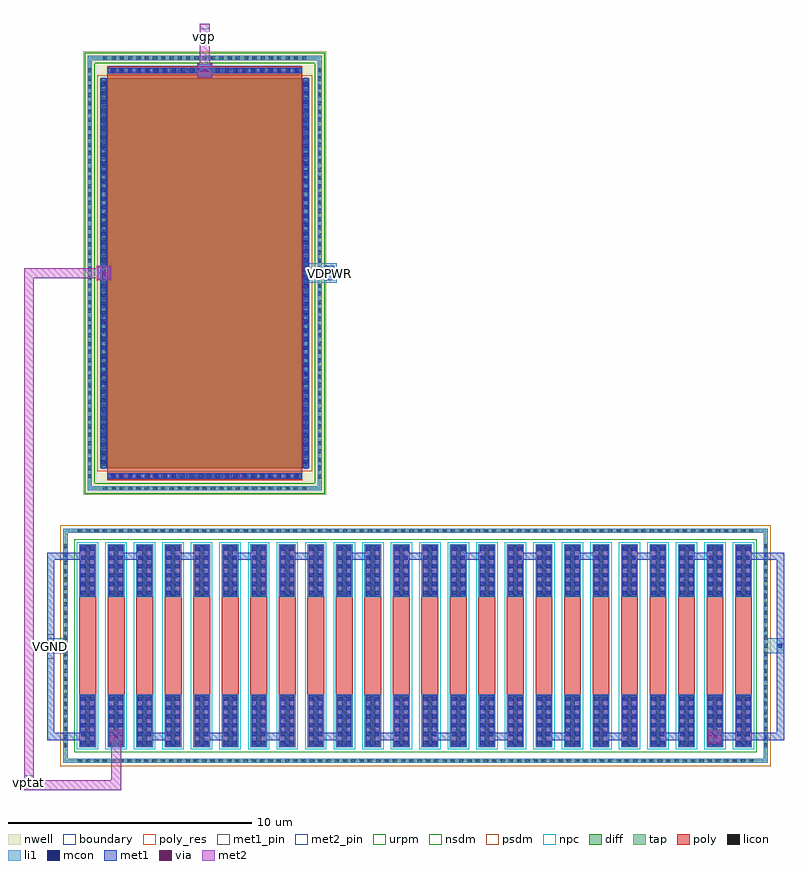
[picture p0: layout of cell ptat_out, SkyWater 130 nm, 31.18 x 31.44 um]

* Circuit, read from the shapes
.subckt ptat_out VDPWR VGND vgp vptat
XM1 VDPWR vgp vptat VDPWR sky130_fd_pr__pfet_01v8 w=16 l=8
XR2 VGND VGND VGND sky130_fd_pr__res_xhigh_po w=0.69 l=4.04 m=2
XR3 sky130_fd_pr__res_xhigh_po_0p69_CEU9SN_1/R1_1 vptat VGND sky130_fd_pr__res_xhigh_po w=0.69 l=4.04
XR4 sky130_fd_pr__res_xhigh_po_0p69_CEU9SN_1/R1_1 sky130_fd_pr__res_xhigh_po_0p69_CEU9SN_1/R2_2 VGND sky130_fd_pr__res_xhigh_po w=0.69 l=4.04
XR5 sky130_fd_pr__res_xhigh_po_0p69_CEU9SN_1/R1_3 sky130_fd_pr__res_xhigh_po_0p69_CEU9SN_1/R2_2 VGND sky130_fd_pr__res_xhigh_po w=0.69 l=4.04
XR6 sky130_fd_pr__res_xhigh_po_0p69_CEU9SN_1/R1_3 sky130_fd_pr__res_xhigh_po_0p69_CEU9SN_1/R2_4 VGND sky130_fd_pr__res_xhigh_po w=0.69 l=4.04
XR7 sky130_fd_pr__res_xhigh_po_0p69_CEU9SN_1/R1_5 sky130_fd_pr__res_xhigh_po_0p69_CEU9SN_1/R2_4 VGND sky130_fd_pr__res_xhigh_po w=0.69 l=4.04
XR8 sky130_fd_pr__res_xhigh_po_0p69_CEU9SN_1/R1_5 sky130_fd_pr__res_xhigh_po_0p69_CEU9SN_1/R2_6 VGND sky130_fd_pr__res_xhigh_po w=0.69 l=4.04
XR9 sky130_fd_pr__res_xhigh_po_0p69_CEU9SN_1/R1_7 sky130_fd_pr__res_xhigh_po_0p69_CEU9SN_1/R2_6 VGND sky130_fd_pr__res_xhigh_po w=0.69 l=4.04
XR10 sky130_fd_pr__res_xhigh_po_0p69_CEU9SN_1/R1_7 sky130_fd_pr__res_xhigh_po_0p69_CEU9SN_1/R2_8 VGND sky130_fd_pr__res_xhigh_po w=0.69 l=4.04
XR11 sky130_fd_pr__res_xhigh_po_0p69_CEU9SN_1/R1_10 sky130_fd_pr__res_xhigh_po_0p69_CEU9SN_1/R2_8 VGND sky130_fd_pr__res_xhigh_po w=0.69 l=4.04
XR12 sky130_fd_pr__res_xhigh_po_0p69_CEU9SN_1/R1_10 sky130_fd_pr__res_xhigh_po_0p69_CEU9SN_1/R2_10 VGND sky130_fd_pr__res_xhigh_po w=0.69 l=4.04
XR13 sky130_fd_pr__res_xhigh_po_0p69_CEU9SN_1/R1_11 sky130_fd_pr__res_xhigh_po_0p69_CEU9SN_1/R2_10 VGND sky130_fd_pr__res_xhigh_po w=0.69 l=4.04
XR14 sky130_fd_pr__res_xhigh_po_0p69_CEU9SN_1/R1_11 sky130_fd_pr__res_xhigh_po_0p69_CEU9SN_1/R2_12 VGND sky130_fd_pr__res_xhigh_po w=0.69 l=4.04
XR15 sky130_fd_pr__res_xhigh_po_0p69_CEU9SN_1/R1_13 sky130_fd_pr__res_xhigh_po_0p69_CEU9SN_1/R2_12 VGND sky130_fd_pr__res_xhigh_po w=0.69 l=4.04
XR16 sky130_fd_pr__res_xhigh_po_0p69_CEU9SN_1/R1_13 sky130_fd_pr__res_xhigh_po_0p69_CEU9SN_1/R2_14 VGND sky130_fd_pr__res_xhigh_po w=0.69 l=4.04
XR17 sky130_fd_pr__res_xhigh_po_0p69_CEU9SN_1/R1_15 sky130_fd_pr__res_xhigh_po_0p69_CEU9SN_1/R2_14 VGND sky130_fd_pr__res_xhigh_po w=0.69 l=4.04
XR18 sky130_fd_pr__res_xhigh_po_0p69_CEU9SN_1/R1_15 sky130_fd_pr__res_xhigh_po_0p69_CEU9SN_1/R2_16 VGND sky130_fd_pr__res_xhigh_po w=0.69 l=4.04
XR19 sky130_fd_pr__res_xhigh_po_0p69_CEU9SN_1/R1_17 sky130_fd_pr__res_xhigh_po_0p69_CEU9SN_1/R2_16 VGND sky130_fd_pr__res_xhigh_po w=0.69 l=4.04
XR20 sky130_fd_pr__res_xhigh_po_0p69_CEU9SN_1/R1_17 sky130_fd_pr__res_xhigh_po_0p69_CEU9SN_1/R2_18 VGND sky130_fd_pr__res_xhigh_po w=0.69 l=4.04
XR21 sky130_fd_pr__res_xhigh_po_0p69_CEU9SN_1/R1_19 sky130_fd_pr__res_xhigh_po_0p69_CEU9SN_1/R2_18 VGND sky130_fd_pr__res_xhigh_po w=0.69 l=4.04
XR22 sky130_fd_pr__res_xhigh_po_0p69_CEU9SN_1/R1_19 sky130_fd_pr__res_xhigh_po_0p69_CEU9SN_1/R2_20 VGND sky130_fd_pr__res_xhigh_po w=0.69 l=4.04
XR23 sky130_fd_pr__res_xhigh_po_0p69_CEU9SN_1/R1_21 sky130_fd_pr__res_xhigh_po_0p69_CEU9SN_1/R2_20 VGND sky130_fd_pr__res_xhigh_po w=0.69 l=4.04
XR24 sky130_fd_pr__res_xhigh_po_0p69_CEU9SN_1/R1_21 VGND VGND sky130_fd_pr__res_xhigh_po w=0.69 l=4.04
.ends

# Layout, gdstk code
import gdstk
lib = gdstk.Library(unit=1e-6, precision=1e-09)
def R(c, l, rs):  # rectangles x0, y0, x1, y1
    for r in rs: c.add(gdstk.rectangle(r[:2], r[2:], *l))
def A(c, l, x, y, w, h, nx, ny, dx, dy):  # array of equal rectangles
    R(c, l, [(x+i*dx, y+j*dy, x+i*dx+w, y+j*dy+h) for i in range(nx) for j in range(ny)])
nwell = (64, 20)
diff = (65, 20)
tap = (65, 44)
poly_res = (66, 13)
poly = (66, 20)
licon = (66, 44)
li1 = (67, 20)
mcon = (67, 44)
met1_pin = (68, 16)
met1 = (68, 20)
via = (68, 44)
met2_pin = (69, 16)
met2 = (69, 20)
urpm = (79, 20)
nsdm = (93, 44)
psdm = (94, 20)
npc = (95, 20)
boundary = (235, 4)

sky130_fd_pr__pfet_01v8_ = lib.new_cell('sky130_fd_pr__pfet_01v8_9GWA29')
R(sky130_fd_pr__pfet_01v8_, nwell, [(-4.98,-9.095,4.98,9.095)])
R(sky130_fd_pr__pfet_01v8_, diff, [(-4.29,-8,4.29,8)])
R(sky130_fd_pr__pfet_01v8_, tap, [(-4.8,-8.915,4.8,-8.745), (-4.8,-8.745,-4.63,8.745), (4.63,-8.745,4.8,8.745), (-4.8,8.745,4.8,8.915)])
R(sky130_fd_pr__pfet_01v8_, poly, [(-4,-8.485,4,8.485)])
A(sky130_fd_pr__pfet_01v8_, licon, -4.165, -8.915, 0.17, 0.17, 25, 2, 0.34, 17.66)
A(sky130_fd_pr__pfet_01v8_, licon, -4.8, -8.415, 0.17, 0.17, 1, 50, 0, 0.34)
A(sky130_fd_pr__pfet_01v8_, licon, 4.63, -8.415, 0.17, 0.17, 1, 50, 0, 0.34)
A(sky130_fd_pr__pfet_01v8_, licon, -3.825, -8.405, 0.17, 0.17, 23, 2, 0.34, 16.64)
A(sky130_fd_pr__pfet_01v8_, licon, -4.23, -7.905, 0.17, 0.17, 1, 47, 0, 0.34)
A(sky130_fd_pr__pfet_01v8_, licon, 4.06, -7.905, 0.17, 0.17, 1, 47, 0, 0.34)
R(sky130_fd_pr__pfet_01v8_, li1, [(-4.8,-8.915,4.8,-8.745), (-4.8,-8.745,-4.63,8.745), (4.63,-8.745,4.8,8.745), (-4,-8.405,4,-8.235), (-4.23,-8.02,-4.06,8.02), (4.06,-8.02,4.23,8.02), (-4,8.235,4,8.405), (-4.8,8.745,4.8,8.915)])
A(sky130_fd_pr__pfet_01v8_, mcon, -3.865, -8.405, 0.17, 0.17, 22, 2, 0.36, 16.64)
A(sky130_fd_pr__pfet_01v8_, mcon, -4.23, -7.825, 0.17, 0.17, 1, 44, 0, 0.36)
A(sky130_fd_pr__pfet_01v8_, mcon, 4.06, -7.825, 0.17, 0.17, 1, 44, 0, 0.36)
R(sky130_fd_pr__pfet_01v8_, met1, [(-3.98,-8.435,3.98,-8.205), (-4.26,-8,-4.03,8), (4.03,-8,4.26,8), (-3.98,8.205,3.98,8.435)])
R(sky130_fd_pr__pfet_01v8_, nsdm, [(-4.925,-9.04,4.925,-8.62), (-4.925,-8.62,-4.505,8.62), (4.505,-8.62,4.925,8.62), (-4.925,8.62,4.925,9.04)])
R(sky130_fd_pr__pfet_01v8_, psdm, [(-4.415,-8.125,4.415,8.125)])
R(sky130_fd_pr__pfet_01v8_, npc, [(-3.925,-8.505,3.925,-8.135), (-3.925,8.135,3.925,8.505)])
R(sky130_fd_pr__pfet_01v8_, boundary, [(-4.715,-8.83,4.715,8.83)])
sky130_fd_pr__pfet_01v8_.add(gdstk.Label('B', (0,-8.83), layer=67, texttype=5))
sky130_fd_pr__pfet_01v8_.add(gdstk.Label('D', (-4.145,0), layer=67, texttype=5))
sky130_fd_pr__pfet_01v8_.add(gdstk.Label('S', (4.145,0), layer=67, texttype=5))
sky130_fd_pr__pfet_01v8_.add(gdstk.Label('G', (0,8.32), layer=67, texttype=5))

sky130_fd_pr__res_xhigh_ = lib.new_cell('sky130_fd_pr__res_xhigh_po_0p69_CEU9SN')
R(sky130_fd_pr__res_xhigh_, tap, [(-14.45,-4.81,14.45,-4.64), (-14.45,-4.64,-14.28,4.64), (14.28,-4.64,14.45,4.64), (-14.45,4.64,14.45,4.81)])
A(sky130_fd_pr__res_xhigh_, poly_res, -13.8, -2.08, 0.69, 4.16, 24, 1, 1.17, 0)
A(sky130_fd_pr__res_xhigh_, poly, -13.8, -4.16, 0.69, 8.32, 24, 1, 1.17, 0)
A(sky130_fd_pr__res_xhigh_, licon, -13.855, -4.81, 0.17, 0.17, 82, 2, 0.34, 9.45)
A(sky130_fd_pr__res_xhigh_, licon, -14.45, -4.165, 0.17, 0.17, 1, 25, 0, 0.34)
A(sky130_fd_pr__res_xhigh_, licon, 14.28, -4.165, 0.17, 0.17, 1, 25, 0, 0.34)
A(sky130_fd_pr__res_xhigh_, licon, -13.55, -4.08, 0.19, 2, 24, 2, 1.17, 6.16)
A(sky130_fd_pr__res_xhigh_, li1, -13.8, -4.16, 0.69, 2.16, 24, 2, 1.17, 6.16)
R(sky130_fd_pr__res_xhigh_, li1, [(-14.45,-4.81,14.45,-4.64), (-14.45,-4.64,-14.28,4.64), (14.28,-4.64,14.45,4.64), (-14.45,4.64,14.45,4.81)])
A(sky130_fd_pr__res_xhigh_, mcon, -13.72, -4.065, 0.17, 0.17, 1, 6, 0, 0.36)
A(sky130_fd_pr__res_xhigh_, mcon, -13.36, -4.065, 0.17, 0.17, 1, 6, 0, 0.36)
A(sky130_fd_pr__res_xhigh_, mcon, -12.55, -4.065, 0.17, 0.17, 1, 6, 0, 0.36)
A(sky130_fd_pr__res_xhigh_, mcon, -12.19, -4.065, 0.17, 0.17, 1, 6, 0, 0.36)
A(sky130_fd_pr__res_xhigh_, mcon, -11.38, -4.065, 0.17, 0.17, 1, 6, 0, 0.36)
A(sky130_fd_pr__res_xhigh_, mcon, -11.02, -4.065, 0.17, 0.17, 1, 6, 0, 0.36)
A(sky130_fd_pr__res_xhigh_, mcon, -10.21, -4.065, 0.17, 0.17, 1, 6, 0, 0.36)
A(sky130_fd_pr__res_xhigh_, mcon, -9.85, -4.065, 0.17, 0.17, 1, 6, 0, 0.36)
A(sky130_fd_pr__res_xhigh_, mcon, -9.04, -4.065, 0.17, 0.17, 1, 6, 0, 0.36)
A(sky130_fd_pr__res_xhigh_, mcon, -8.68, -4.065, 0.17, 0.17, 1, 6, 0, 0.36)
A(sky130_fd_pr__res_xhigh_, mcon, -7.87, -4.065, 0.17, 0.17, 1, 6, 0, 0.36)
A(sky130_fd_pr__res_xhigh_, mcon, -7.51, -4.065, 0.17, 0.17, 1, 6, 0, 0.36)
A(sky130_fd_pr__res_xhigh_, mcon, -6.7, -4.065, 0.17, 0.17, 1, 6, 0, 0.36)
A(sky130_fd_pr__res_xhigh_, mcon, -6.34, -4.065, 0.17, 0.17, 1, 6, 0, 0.36)
A(sky130_fd_pr__res_xhigh_, mcon, -5.53, -4.065, 0.17, 0.17, 1, 6, 0, 0.36)
A(sky130_fd_pr__res_xhigh_, mcon, -5.17, -4.065, 0.17, 0.17, 1, 6, 0, 0.36)
A(sky130_fd_pr__res_xhigh_, mcon, -4.36, -4.065, 0.17, 0.17, 1, 6, 0, 0.36)
A(sky130_fd_pr__res_xhigh_, mcon, -4, -4.065, 0.17, 0.17, 1, 6, 0, 0.36)
A(sky130_fd_pr__res_xhigh_, mcon, -3.19, -4.065, 0.17, 0.17, 1, 6, 0, 0.36)
A(sky130_fd_pr__res_xhigh_, mcon, -2.83, -4.065, 0.17, 0.17, 1, 6, 0, 0.36)
A(sky130_fd_pr__res_xhigh_, mcon, -2.02, -4.065, 0.17, 0.17, 1, 6, 0, 0.36)
A(sky130_fd_pr__res_xhigh_, mcon, -1.66, -4.065, 0.17, 0.17, 1, 6, 0, 0.36)
A(sky130_fd_pr__res_xhigh_, mcon, -0.85, -4.065, 0.17, 0.17, 1, 6, 0, 0.36)
A(sky130_fd_pr__res_xhigh_, mcon, -0.49, -4.065, 0.17, 0.17, 1, 6, 0, 0.36)
A(sky130_fd_pr__res_xhigh_, mcon, 0.32, -4.065, 0.17, 0.17, 1, 6, 0, 0.36)
A(sky130_fd_pr__res_xhigh_, mcon, 0.68, -4.065, 0.17, 0.17, 1, 6, 0, 0.36)
A(sky130_fd_pr__res_xhigh_, mcon, 1.49, -4.065, 0.17, 0.17, 1, 6, 0, 0.36)
A(sky130_fd_pr__res_xhigh_, mcon, 1.85, -4.065, 0.17, 0.17, 1, 6, 0, 0.36)
A(sky130_fd_pr__res_xhigh_, mcon, 2.66, -4.065, 0.17, 0.17, 1, 6, 0, 0.36)
A(sky130_fd_pr__res_xhigh_, mcon, 3.02, -4.065, 0.17, 0.17, 1, 6, 0, 0.36)
A(sky130_fd_pr__res_xhigh_, mcon, 3.83, -4.065, 0.17, 0.17, 1, 6, 0, 0.36)
A(sky130_fd_pr__res_xhigh_, mcon, 4.19, -4.065, 0.17, 0.17, 1, 6, 0, 0.36)
A(sky130_fd_pr__res_xhigh_, mcon, 5, -4.065, 0.17, 0.17, 1, 6, 0, 0.36)
A(sky130_fd_pr__res_xhigh_, mcon, 5.36, -4.065, 0.17, 0.17, 1, 6, 0, 0.36)
A(sky130_fd_pr__res_xhigh_, mcon, 6.17, -4.065, 0.17, 0.17, 1, 6, 0, 0.36)
A(sky130_fd_pr__res_xhigh_, mcon, 6.53, -4.065, 0.17, 0.17, 1, 6, 0, 0.36)
A(sky130_fd_pr__res_xhigh_, mcon, 7.34, -4.065, 0.17, 0.17, 1, 6, 0, 0.36)
A(sky130_fd_pr__res_xhigh_, mcon, 7.7, -4.065, 0.17, 0.17, 1, 6, 0, 0.36)
A(sky130_fd_pr__res_xhigh_, mcon, 8.51, -4.065, 0.17, 0.17, 1, 6, 0, 0.36)
A(sky130_fd_pr__res_xhigh_, mcon, 8.87, -4.065, 0.17, 0.17, 1, 6, 0, 0.36)
A(sky130_fd_pr__res_xhigh_, mcon, 9.68, -4.065, 0.17, 0.17, 1, 6, 0, 0.36)
A(sky130_fd_pr__res_xhigh_, mcon, 10.04, -4.065, 0.17, 0.17, 1, 6, 0, 0.36)
A(sky130_fd_pr__res_xhigh_, mcon, 10.85, -4.065, 0.17, 0.17, 1, 6, 0, 0.36)
A(sky130_fd_pr__res_xhigh_, mcon, 11.21, -4.065, 0.17, 0.17, 1, 6, 0, 0.36)
A(sky130_fd_pr__res_xhigh_, mcon, 12.02, -4.065, 0.17, 0.17, 1, 6, 0, 0.36)
A(sky130_fd_pr__res_xhigh_, mcon, 12.38, -4.065, 0.17, 0.17, 1, 6, 0, 0.36)
A(sky130_fd_pr__res_xhigh_, mcon, 13.19, -4.065, 0.17, 0.17, 1, 6, 0, 0.36)
A(sky130_fd_pr__res_xhigh_, mcon, 13.55, -4.065, 0.17, 0.17, 1, 6, 0, 0.36)
A(sky130_fd_pr__res_xhigh_, mcon, -13.72, 2.09, 0.17, 0.17, 1, 6, 0, 0.36)
A(sky130_fd_pr__res_xhigh_, mcon, -13.36, 2.09, 0.17, 0.17, 1, 6, 0, 0.36)
A(sky130_fd_pr__res_xhigh_, mcon, -12.55, 2.09, 0.17, 0.17, 1, 6, 0, 0.36)
A(sky130_fd_pr__res_xhigh_, mcon, -12.19, 2.09, 0.17, 0.17, 1, 6, 0, 0.36)
A(sky130_fd_pr__res_xhigh_, mcon, -11.38, 2.09, 0.17, 0.17, 1, 6, 0, 0.36)
A(sky130_fd_pr__res_xhigh_, mcon, -11.02, 2.09, 0.17, 0.17, 1, 6, 0, 0.36)
A(sky130_fd_pr__res_xhigh_, mcon, -10.21, 2.09, 0.17, 0.17, 1, 6, 0, 0.36)
A(sky130_fd_pr__res_xhigh_, mcon, -9.85, 2.09, 0.17, 0.17, 1, 6, 0, 0.36)
A(sky130_fd_pr__res_xhigh_, mcon, -9.04, 2.09, 0.17, 0.17, 1, 6, 0, 0.36)
A(sky130_fd_pr__res_xhigh_, mcon, -8.68, 2.09, 0.17, 0.17, 1, 6, 0, 0.36)
A(sky130_fd_pr__res_xhigh_, mcon, -7.87, 2.09, 0.17, 0.17, 1, 6, 0, 0.36)
A(sky130_fd_pr__res_xhigh_, mcon, -7.51, 2.09, 0.17, 0.17, 1, 6, 0, 0.36)
A(sky130_fd_pr__res_xhigh_, mcon, -6.7, 2.09, 0.17, 0.17, 1, 6, 0, 0.36)
A(sky130_fd_pr__res_xhigh_, mcon, -6.34, 2.09, 0.17, 0.17, 1, 6, 0, 0.36)
A(sky130_fd_pr__res_xhigh_, mcon, -5.53, 2.09, 0.17, 0.17, 1, 6, 0, 0.36)
A(sky130_fd_pr__res_xhigh_, mcon, -5.17, 2.09, 0.17, 0.17, 1, 6, 0, 0.36)
A(sky130_fd_pr__res_xhigh_, mcon, -4.36, 2.09, 0.17, 0.17, 1, 6, 0, 0.36)
A(sky130_fd_pr__res_xhigh_, mcon, -4, 2.09, 0.17, 0.17, 1, 6, 0, 0.36)
A(sky130_fd_pr__res_xhigh_, mcon, -3.19, 2.09, 0.17, 0.17, 1, 6, 0, 0.36)
A(sky130_fd_pr__res_xhigh_, mcon, -2.83, 2.09, 0.17, 0.17, 1, 6, 0, 0.36)
A(sky130_fd_pr__res_xhigh_, mcon, -2.02, 2.09, 0.17, 0.17, 1, 6, 0, 0.36)
A(sky130_fd_pr__res_xhigh_, mcon, -1.66, 2.09, 0.17, 0.17, 1, 6, 0, 0.36)
A(sky130_fd_pr__res_xhigh_, mcon, -0.85, 2.09, 0.17, 0.17, 1, 6, 0, 0.36)
A(sky130_fd_pr__res_xhigh_, mcon, -0.49, 2.09, 0.17, 0.17, 1, 6, 0, 0.36)
A(sky130_fd_pr__res_xhigh_, mcon, 0.32, 2.09, 0.17, 0.17, 1, 6, 0, 0.36)
A(sky130_fd_pr__res_xhigh_, mcon, 0.68, 2.09, 0.17, 0.17, 1, 6, 0, 0.36)
A(sky130_fd_pr__res_xhigh_, mcon, 1.49, 2.09, 0.17, 0.17, 1, 6, 0, 0.36)
A(sky130_fd_pr__res_xhigh_, mcon, 1.85, 2.09, 0.17, 0.17, 1, 6, 0, 0.36)
A(sky130_fd_pr__res_xhigh_, mcon, 2.66, 2.09, 0.17, 0.17, 1, 6, 0, 0.36)
A(sky130_fd_pr__res_xhigh_, mcon, 3.02, 2.09, 0.17, 0.17, 1, 6, 0, 0.36)
A(sky130_fd_pr__res_xhigh_, mcon, 3.83, 2.09, 0.17, 0.17, 1, 6, 0, 0.36)
A(sky130_fd_pr__res_xhigh_, mcon, 4.19, 2.09, 0.17, 0.17, 1, 6, 0, 0.36)
A(sky130_fd_pr__res_xhigh_, mcon, 5, 2.09, 0.17, 0.17, 1, 6, 0, 0.36)
A(sky130_fd_pr__res_xhigh_, mcon, 5.36, 2.09, 0.17, 0.17, 1, 6, 0, 0.36)
A(sky130_fd_pr__res_xhigh_, mcon, 6.17, 2.09, 0.17, 0.17, 1, 6, 0, 0.36)
A(sky130_fd_pr__res_xhigh_, mcon, 6.53, 2.09, 0.17, 0.17, 1, 6, 0, 0.36)
A(sky130_fd_pr__res_xhigh_, mcon, 7.34, 2.09, 0.17, 0.17, 1, 6, 0, 0.36)
A(sky130_fd_pr__res_xhigh_, mcon, 7.7, 2.09, 0.17, 0.17, 1, 6, 0, 0.36)
A(sky130_fd_pr__res_xhigh_, mcon, 8.51, 2.09, 0.17, 0.17, 1, 6, 0, 0.36)
A(sky130_fd_pr__res_xhigh_, mcon, 8.87, 2.09, 0.17, 0.17, 1, 6, 0, 0.36)
A(sky130_fd_pr__res_xhigh_, mcon, 9.68, 2.09, 0.17, 0.17, 1, 6, 0, 0.36)
A(sky130_fd_pr__res_xhigh_, mcon, 10.04, 2.09, 0.17, 0.17, 1, 6, 0, 0.36)
A(sky130_fd_pr__res_xhigh_, mcon, 10.85, 2.09, 0.17, 0.17, 1, 6, 0, 0.36)
A(sky130_fd_pr__res_xhigh_, mcon, 11.21, 2.09, 0.17, 0.17, 1, 6, 0, 0.36)
A(sky130_fd_pr__res_xhigh_, mcon, 12.02, 2.09, 0.17, 0.17, 1, 6, 0, 0.36)
A(sky130_fd_pr__res_xhigh_, mcon, 12.38, 2.09, 0.17, 0.17, 1, 6, 0, 0.36)
A(sky130_fd_pr__res_xhigh_, mcon, 13.19, 2.09, 0.17, 0.17, 1, 6, 0, 0.36)
A(sky130_fd_pr__res_xhigh_, mcon, 13.55, 2.09, 0.17, 0.17, 1, 6, 0, 0.36)
A(sky130_fd_pr__res_xhigh_, met1, -13.75, -4.13, 0.59, 2.105, 24, 2, 1.17, 6.155)
R(sky130_fd_pr__res_xhigh_, urpm, [(-14,-4.36,14,4.36)])
R(sky130_fd_pr__res_xhigh_, psdm, [(-14.575,-4.935,14.575,4.935)])
A(sky130_fd_pr__res_xhigh_, npc, -13.895, -4.255, 0.88, 8.51, 24, 1, 1.17, 0)
R(sky130_fd_pr__res_xhigh_, boundary, [(-14.365,-4.725,14.365,4.725)])
sky130_fd_pr__res_xhigh_.add(gdstk.Label('B', (0,-4.725), layer=67, texttype=5))
sky130_fd_pr__res_xhigh_.add(gdstk.Label('R1_0', (-13.455,3.985), layer=67, texttype=5))
sky130_fd_pr__res_xhigh_.add(gdstk.Label('R2_0', (-13.455,-3.985), layer=67, texttype=5))
sky130_fd_pr__res_xhigh_.add(gdstk.Label('R1_1', (-12.285,3.985), layer=67, texttype=5))
sky130_fd_pr__res_xhigh_.add(gdstk.Label('R2_1', (-12.285,-3.985), layer=67, texttype=5))
sky130_fd_pr__res_xhigh_.add(gdstk.Label('R1_2', (-11.115,3.985), layer=67, texttype=5))
sky130_fd_pr__res_xhigh_.add(gdstk.Label('R2_2', (-11.115,-3.985), layer=67, texttype=5))
sky130_fd_pr__res_xhigh_.add(gdstk.Label('R1_3', (-9.945,3.985), layer=67, texttype=5))
sky130_fd_pr__res_xhigh_.add(gdstk.Label('R2_3', (-9.945,-3.985), layer=67, texttype=5))
sky130_fd_pr__res_xhigh_.add(gdstk.Label('R1_4', (-8.775,3.985), layer=67, texttype=5))
sky130_fd_pr__res_xhigh_.add(gdstk.Label('R2_4', (-8.775,-3.985), layer=67, texttype=5))
sky130_fd_pr__res_xhigh_.add(gdstk.Label('R1_5', (-7.605,3.985), layer=67, texttype=5))
sky130_fd_pr__res_xhigh_.add(gdstk.Label('R2_5', (-7.605,-3.985), layer=67, texttype=5))
sky130_fd_pr__res_xhigh_.add(gdstk.Label('R1_6', (-6.435,3.985), layer=67, texttype=5))
sky130_fd_pr__res_xhigh_.add(gdstk.Label('R2_6', (-6.435,-3.985), layer=67, texttype=5))
sky130_fd_pr__res_xhigh_.add(gdstk.Label('R1_7', (-5.265,3.985), layer=67, texttype=5))
sky130_fd_pr__res_xhigh_.add(gdstk.Label('R2_7', (-5.265,-3.985), layer=67, texttype=5))
sky130_fd_pr__res_xhigh_.add(gdstk.Label('R1_8', (-4.095,3.985), layer=67, texttype=5))
sky130_fd_pr__res_xhigh_.add(gdstk.Label('R2_8', (-4.095,-3.985), layer=67, texttype=5))
sky130_fd_pr__res_xhigh_.add(gdstk.Label('R1_9', (-2.925,3.985), layer=67, texttype=5))
sky130_fd_pr__res_xhigh_.add(gdstk.Label('R2_9', (-2.925,-3.985), layer=67, texttype=5))
sky130_fd_pr__res_xhigh_.add(gdstk.Label('R1_10', (-1.755,3.985), layer=67, texttype=5))
sky130_fd_pr__res_xhigh_.add(gdstk.Label('R2_10', (-1.755,-3.985), layer=67, texttype=5))
sky130_fd_pr__res_xhigh_.add(gdstk.Label('R1_11', (-0.585,3.985), layer=67, texttype=5))
sky130_fd_pr__res_xhigh_.add(gdstk.Label('R2_11', (-0.585,-3.985), layer=67, texttype=5))
sky130_fd_pr__res_xhigh_.add(gdstk.Label('R1_12', (0.585,3.985), layer=67, texttype=5))
sky130_fd_pr__res_xhigh_.add(gdstk.Label('R2_12', (0.585,-3.985), layer=67, texttype=5))
sky130_fd_pr__res_xhigh_.add(gdstk.Label('R1_13', (1.755,3.985), layer=67, texttype=5))
sky130_fd_pr__res_xhigh_.add(gdstk.Label('R2_13', (1.755,-3.985), layer=67, texttype=5))
sky130_fd_pr__res_xhigh_.add(gdstk.Label('R1_14', (2.925,3.985), layer=67, texttype=5))
sky130_fd_pr__res_xhigh_.add(gdstk.Label('R2_14', (2.925,-3.985), layer=67, texttype=5))
sky130_fd_pr__res_xhigh_.add(gdstk.Label('R1_15', (4.095,3.985), layer=67, texttype=5))
sky130_fd_pr__res_xhigh_.add(gdstk.Label('R2_15', (4.095,-3.985), layer=67, texttype=5))
sky130_fd_pr__res_xhigh_.add(gdstk.Label('R1_16', (5.265,3.985), layer=67, texttype=5))
sky130_fd_pr__res_xhigh_.add(gdstk.Label('R2_16', (5.265,-3.985), layer=67, texttype=5))
sky130_fd_pr__res_xhigh_.add(gdstk.Label('R1_17', (6.435,3.985), layer=67, texttype=5))
sky130_fd_pr__res_xhigh_.add(gdstk.Label('R2_17', (6.435,-3.985), layer=67, texttype=5))
sky130_fd_pr__res_xhigh_.add(gdstk.Label('R1_18', (7.605,3.985), layer=67, texttype=5))
sky130_fd_pr__res_xhigh_.add(gdstk.Label('R2_18', (7.605,-3.985), layer=67, texttype=5))
sky130_fd_pr__res_xhigh_.add(gdstk.Label('R1_19', (8.775,3.985), layer=67, texttype=5))
sky130_fd_pr__res_xhigh_.add(gdstk.Label('R2_19', (8.775,-3.985), layer=67, texttype=5))
sky130_fd_pr__res_xhigh_.add(gdstk.Label('R1_20', (9.945,3.985), layer=67, texttype=5))
sky130_fd_pr__res_xhigh_.add(gdstk.Label('R2_20', (9.945,-3.985), layer=67, texttype=5))
sky130_fd_pr__res_xhigh_.add(gdstk.Label('R1_21', (11.115,3.985), layer=67, texttype=5))
sky130_fd_pr__res_xhigh_.add(gdstk.Label('R2_21', (11.115,-3.985), layer=67, texttype=5))
sky130_fd_pr__res_xhigh_.add(gdstk.Label('R1_22', (12.285,3.985), layer=67, texttype=5))
sky130_fd_pr__res_xhigh_.add(gdstk.Label('R2_22', (12.285,-3.985), layer=67, texttype=5))
sky130_fd_pr__res_xhigh_.add(gdstk.Label('R1_23', (13.455,3.985), layer=67, texttype=5))
sky130_fd_pr__res_xhigh_.add(gdstk.Label('R2_23', (13.455,-3.985), layer=67, texttype=5))

ptat_out = lib.new_cell('ptat_out')
R(ptat_out, li1, [(-0.485,4.69,0.35,5.29), (28.91,4.69,29.745,5.29), (10.025,19.875,11.395,20.675)])
R(ptat_out, mcon, [(-0.42,4.905,-0.25,5.075), (29.51,4.905,29.68,5.075), (10.995,20.19,11.165,20.36)])
R(ptat_out, met1_pin, [(-0.485,4.465,-0.185,5.465), (10.895,19.975,11.295,20.575)])
A(ptat_out, met1, 3.39, 1.115, 1.42, 0.3, 10, 1, 2.34, 0)
A(ptat_out, met1, 2.22, 8.515, 1.42, 0.3, 11, 1, 2.34, 0)
R(ptat_out, met1, [(2.095,1.015,2.595,1.515), (26.665,1.015,27.165,1.115), (-0.485,1.115,1.3,1.415), (26.665,1.115,29.745,1.415), (-0.485,1.415,-0.185,8.515), (26.665,1.415,27.165,1.515), (29.445,1.415,29.745,8.515), (-0.485,8.515,1.3,8.815), (27.96,8.515,29.745,8.815), (1.585,19.975,2.085,20.575), (10.895,19.975,11.295,20.575), (5.68,28.345,6.28,28.845)])
R(ptat_out, via, [(2.27,1.19,2.42,1.34), (26.84,1.19,26.99,1.34), (1.76,20.2,1.91,20.35), (5.905,28.52,6.055,28.67)])
R(ptat_out, met2_pin, [(-1.435,-0.935,-1.035,-0.335), (5.78,29.705,6.18,30.305)])
R(ptat_out, met2, [(-1.435,-0.935,2.545,-0.535), (-1.435,-0.535,-1.035,20.075), (2.145,-0.535,2.545,0.985), (2.065,0.985,2.625,1.545), (26.635,0.985,27.195,1.545), (1.555,19.975,2.115,20.075), (-1.435,20.075,2.115,20.475), (1.555,20.475,2.115,20.575), (5.68,28.295,6.28,28.895), (5.78,28.895,6.18,30.505)])
ptat_out.add(gdstk.Reference(sky130_fd_pr__pfet_01v8_, (5.98,20.275)))
ptat_out.add(gdstk.Reference(sky130_fd_pr__res_xhigh_, (14.63,4.99)))
ptat_out.add(gdstk.Label('VDPWR', (11.095,20.275), layer=68, texttype=5))
ptat_out.add(gdstk.Label('vptat', (-1.235,-0.635), layer=69, texttype=5))
ptat_out.add(gdstk.Label('vgp', (5.98,30.005), layer=69, texttype=5))
ptat_out.add(gdstk.Label('VGND', (-0.335,4.965), layer=68, texttype=5))

lib.write_gds('ptat_out.gds')
